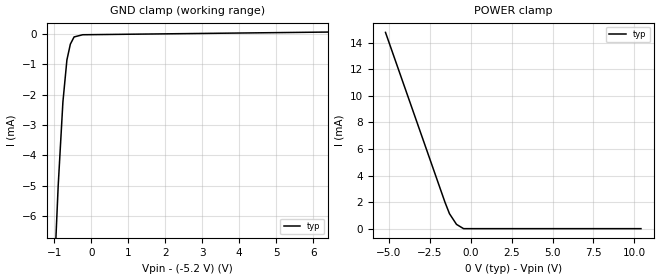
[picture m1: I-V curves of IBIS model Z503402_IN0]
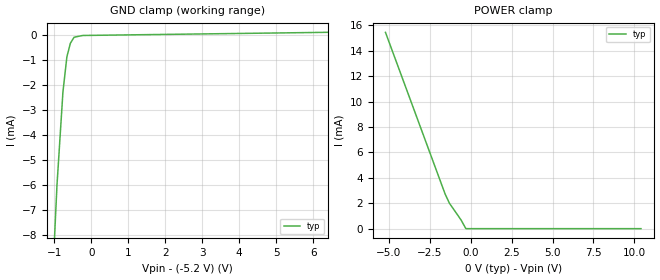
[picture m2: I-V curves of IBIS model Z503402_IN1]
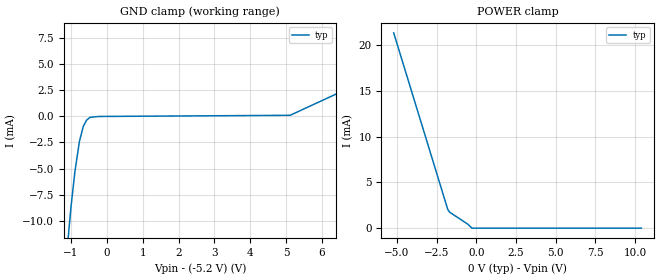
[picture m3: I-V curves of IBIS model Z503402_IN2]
| YOU ARE ONLY AUTHORIZED TO USE THIS SOFTWARE
| ACCORDING TO LICENSOR'S LICENSE RESTRICTIONS.
[IBIS Ver] 3.1
[File Name] mc10e141fn.ibs
[File Rev] 2.0
[Source] Measured and created by ICX Technology
[Date] Friday 7/14/00 9:07:48 AM
[Copyright]
| (C) COPYRIGHT 1993-2000
| MENTOR GRAPHICS CORPORATION
| ICX STANDARD LIBRARY, ICX PROJECT MODELING,
| ICX CUSTOM MODELING, ICX VENDOR MODEL
| ALL RIGHTS RESERVED.
| THE FOLLOWING ARE TRADEMARKS OR SERVICE MARKS OF
| MENTOR GRAPHICS CORPORATION:ICX (R), ICX STANDARD
| LIBRARY(R), ICX PROJECT MODELING(R), ICX CUSTOM
| MODELING(R), qualityIBIS(TM), MODELVIEWER(TM),
| AND MODELEDITOR(TM)
| ALL COPIES OF SOFTWARE, INCLUDING BUT NOT LIMITED TO
| ANY MODIFICATIONS, ENHANCEMENTS OR DERIVATIVE WORKS,
| MUST CONTAIN ALL MENTOR GRAPHICS CORPORATION'S
| NOTICES AND LEGENDS, INCLUDING THOSE EMBEDDED IN
| SOFTWARE AND THOSE AFFIXED TO SOFTWARE MEDIUM
| AND CONTAINER, AS RECEIVED FROM MENTOR GRAPHICS
| CORPORATION.
|  ZAP Model Builder 2.7
[Component] MC10E141FN
[Manufacturer] OnSemiconductor
[Package]
| variable   typ   min   max
R_pkg  .083ohms NA NA
L_pkg  4.299nH NA NA
C_pkg  1.045pF NA NA
[Pin] signal_name  model_name  R_pin  L_pin C_pin
1 VEE POWER .08 3.94n .925p
2 DR Z503402_IN0 .082 4.14n .995p
3 D0 Z503402_IN1 .084 4.354n 1.065p
4 D1 Z503402_IN1 .086 4.583n 1.135p
5 D2 Z503402_IN1 .086 4.583n 1.135p
6 D3 Z503402_IN1 .084 4.354n 1.065p
7 D4 Z503402_IN1 .082 4.14n .995p
8 VCCO POWER .08 3.94n .925p
9 Q0 Z503402_OUT0 .082 4.14n .995p
10 Q1 Z503402_OUT0 .084 4.354n 1.065p
11 Q2 Z503402_OUT0 .086 4.583n 1.135p
12 Q3 Z503402_OUT0 .086 4.583n 1.135p
13 Q4 Z503402_OUT0 .084 4.354n 1.065p
14 VCCO POWER .082 4.14n .995p
15 NC NC .08 3.94n .925p
16 VCC POWER .082 4.14n .995p
17 Q5 Z503402_OUT0 .084 4.354n 1.065p
18 Q6 Z503402_OUT0 .086 4.583n 1.135p
19 Q7 Z503402_OUT0 .086 4.583n 1.135p
20 VCCO POWER .084 4.354n 1.065p
21 D5 Z503402_IN1 .082 4.14n .995p
22 D6 Z503402_IN1 .08 3.94n .925p
23 D7 Z503402_IN1 .082 4.14n .995p
24 DL Z503402_IN1 .084 4.354n 1.065p
25 SEL0 Z503402_IN2 .086 4.583n 1.135p
26 SEL1 Z503402_IN2 .086 4.583n 1.135p
27 CLK Z503402_IN3 .084 4.354n 1.065p
28 MR Z503402_IN4 .082 4.14n .995p
| Models and submodels in the file (6): Z503402_IN0 (Input_ECL), Z503402_IN1 (Input_ECL), Z503402_IN2 (Input_ECL), Z503402_IN3 (Input_ECL), Z503402_IN4 (Input_ECL), Z503402_OUT0 (Output_ECL)
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| (C) COPYRIGHT 1993-2000
| MENTOR GRAPHICS CORPORATION
| ICX STANDARD LIBRARY, ICX PROJECT MODELING,
| ICX CUSTOM MODELING, ICX VENDOR MODEL
| ALL RIGHTS RESERVED.
| THE FOLLOWING ARE TRADEMARKS OR SERVICE MARKS OF
| MENTOR GRAPHICS CORPORATION:ICX (R), ICX STANDARD
| LIBRARY(R), ICX PROJECT MODELING(R), ICX CUSTOM
| MODELING(R), qualityIBIS(TM), MODELVIEWER(TM),
| AND MODELEDITOR(TM)
| ALL COPIES OF SOFTWARE, INCLUDING BUT NOT LIMITED TO
| ANY MODIFICATIONS, ENHANCEMENTS OR DERIVATIVE WORKS,
| MUST CONTAIN ALL MENTOR GRAPHICS CORPORATION'S
| NOTICES AND LEGENDS, INCLUDING THOSE EMBEDDED IN
| SOFTWARE AND THOSE AFFIXED TO SOFTWARE MEDIUM
| AND CONTAINER, AS RECEIVED FROM MENTOR GRAPHICS
| CORPORATION.
| Model Application Version 1.89 2/18/99.
[Model] Z503402_IN0
Model_type Input_ECL
Vinl = -1.480V
Vinh = -1.130V
C_comp 4.000pF NA NA
| variable typ   min   max
[Voltage Range] -5.200V NA NA
[GND Clamp Reference] -5.200V NA NA
[POWER Clamp Reference] 0.000V NA NA
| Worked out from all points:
|   GND clamp passes 1 mA (typ) near -0.67 V on its own axis
[GND Clamp]
-5.2V     -211.3mA   NA         NA
-1.24V    -16.53mA   NA         NA
-1.019V   -8.469mA   NA         NA
-894mV    -4.987mA   NA         NA
-767mV    -2.235mA   NA         NA
-659mV    -851.9uA   NA         NA
-566mV    -330.4uA   NA         NA
-465mV    -92.07uA   NA         NA
-232.5mV  -19.71uA   NA         NA
10.4V     122.3uA    NA         NA
[POWER Clamp]
-5.2V     14.79mA    NA         NA
-1.567V   1.988mA    NA         NA
-1.294V   1.13mA     NA         NA
-864mV    322.1uA    NA         NA
-432mV    0A         NA         NA
10.4V     0A         NA         NA
| (C) COPYRIGHT 1993-2000
| MENTOR GRAPHICS CORPORATION
| ICX STANDARD LIBRARY, ICX PROJECT MODELING,
| ICX CUSTOM MODELING, ICX VENDOR MODEL
| ALL RIGHTS RESERVED.
| THE FOLLOWING ARE TRADEMARKS OR SERVICE MARKS OF
| MENTOR GRAPHICS CORPORATION:ICX (R), ICX STANDARD
| LIBRARY(R), ICX PROJECT MODELING(R), ICX CUSTOM
| MODELING(R), qualityIBIS(TM), MODELVIEWER(TM),
| AND MODELEDITOR(TM)
| ALL COPIES OF SOFTWARE, INCLUDING BUT NOT LIMITED TO
| ANY MODIFICATIONS, ENHANCEMENTS OR DERIVATIVE WORKS,
| MUST CONTAIN ALL MENTOR GRAPHICS CORPORATION'S
| NOTICES AND LEGENDS, INCLUDING THOSE EMBEDDED IN
| SOFTWARE AND THOSE AFFIXED TO SOFTWARE MEDIUM
| AND CONTAINER, AS RECEIVED FROM MENTOR GRAPHICS
| CORPORATION.
| Model Application Version 1.89 2/18/99.
[Model] Z503402_IN1
Model_type Input_ECL
Vinl = -1.480V
Vinh = -1.130V
C_comp 4.000pF NA NA
| variable typ   min   max
[Voltage Range] -5.200V NA NA
[GND Clamp Reference] -5.200V NA NA
[POWER Clamp Reference] 0.000V NA NA
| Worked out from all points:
|   GND clamp passes 1 mA (typ) near -0.67 V on its own axis
[GND Clamp]
-5.2V     -249.9mA   NA         NA
-1.24V    -18.45mA   NA         NA
-1.118V   -12.76mA   NA         NA
-1.001V   -8.358mA   NA         NA
-928mV    -6.031mA   NA         NA
-766mV    -2.273mA   NA         NA
-659mV    -872.1uA   NA         NA
-566mV    -333.5uA   NA         NA
-465mV    -89.44uA   NA         NA
-232.5mV  -18.43uA   NA         NA
10.4V     184.5uA    NA         NA
[POWER Clamp]
-5.2V     15.44mA    NA         NA
-1.559V   2.726mA    NA         NA
-1.304V   2.016mA    NA         NA
-583.2mV  679.6uA    NA         NA
-291.6mV  0A         NA         NA
10.4V     0A         NA         NA
| (C) COPYRIGHT 1993-2000
| MENTOR GRAPHICS CORPORATION
| ICX STANDARD LIBRARY, ICX PROJECT MODELING,
| ICX CUSTOM MODELING, ICX VENDOR MODEL
| ALL RIGHTS RESERVED.
| THE FOLLOWING ARE TRADEMARKS OR SERVICE MARKS OF
| MENTOR GRAPHICS CORPORATION:ICX (R), ICX STANDARD
| LIBRARY(R), ICX PROJECT MODELING(R), ICX CUSTOM
| MODELING(R), qualityIBIS(TM), MODELVIEWER(TM),
| AND MODELEDITOR(TM)
| ALL COPIES OF SOFTWARE, INCLUDING BUT NOT LIMITED TO
| ANY MODIFICATIONS, ENHANCEMENTS OR DERIVATIVE WORKS,
| MUST CONTAIN ALL MENTOR GRAPHICS CORPORATION'S
| NOTICES AND LEGENDS, INCLUDING THOSE EMBEDDED IN
| SOFTWARE AND THOSE AFFIXED TO SOFTWARE MEDIUM
| AND CONTAINER, AS RECEIVED FROM MENTOR GRAPHICS
| CORPORATION.
| Model Application Version 1.89 2/18/99.
[Model] Z503402_IN2
Model_type Input_ECL
Vinl = -1.480V
Vinh = -1.130V
C_comp 4.000pF NA NA
| variable typ   min   max
[Voltage Range] -5.200V NA NA
[GND Clamp Reference] -5.200V NA NA
[POWER Clamp Reference] 0.000V NA NA
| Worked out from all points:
|   GND clamp passes 1 mA (typ) near -0.66 V on its own axis
[GND Clamp]
-5.2V     -264.6mA   NA         NA
-1.235V   -19mA      NA         NA
-1.086V   -11.89mA   NA         NA
-998mV    -8.581mA   NA         NA
-891mV    -5.284mA   NA         NA
-765mV    -2.4mA     NA         NA
-658mV    -971.8uA   NA         NA
-566mV    -373.8uA   NA         NA
-465mV    -94.4uA    NA         NA
-232.5mV  -18.26uA   NA         NA
5.113V    93.58uA    NA         NA
10.4V     8.438mA    NA         NA
[POWER Clamp]
-5.2V     21.31mA    NA         NA
-1.796V   2.048mA    NA         NA
-1.678V   1.746mA    NA         NA
-537mV    440.2uA    NA         NA
-268.5mV  0A         NA         NA
10.4V     0A         NA         NA
